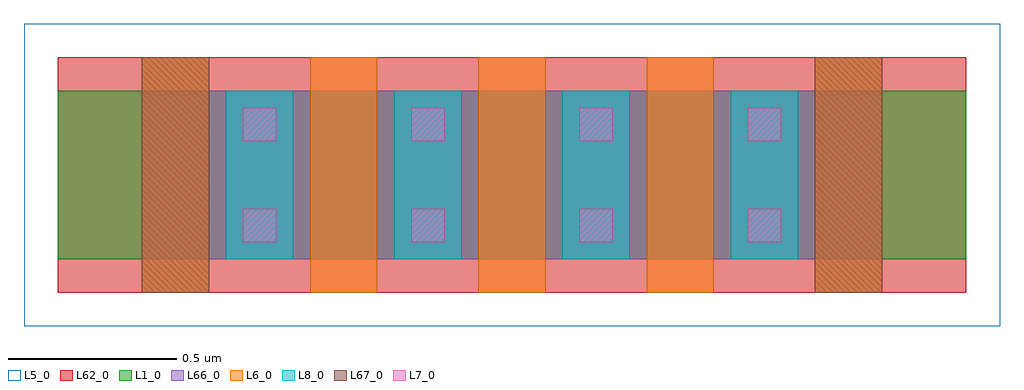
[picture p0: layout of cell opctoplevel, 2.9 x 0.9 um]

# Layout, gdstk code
import gdstk
lib = gdstk.Library(unit=1e-6, precision=1e-09)
def R(c, l, rs):  # rectangles x0, y0, x1, y1
    for r in rs: c.add(gdstk.rectangle(r[:2], r[2:], *l))
def A(c, l, x, y, w, h, nx, ny, dx, dy):  # array of equal rectangles
    R(c, l, [(x+i*dx, y+j*dy, x+i*dx+w, y+j*dy+h) for i in range(nx) for j in range(ny)])
L1_0 = (1, 0)
L5_0 = (5, 0)
L6_0 = (6, 0)
L7_0 = (7, 0)
L8_0 = (8, 0)
L62_0 = (62, 0)
L66_0 = (66, 0)
L67_0 = (67, 0)

opctoplevel = lib.new_cell('opctoplevel')
R(opctoplevel, L1_0, [(-0.75,0,1.95,0.5)])
R(opctoplevel, L5_0, [(-0.85,-0.2,2.05,0.7)])
A(opctoplevel, L6_0, -0.5, -0.1, 0.2, 0.7, 5, 1, 0.5, 0)
A(opctoplevel, L7_0, -0.2, 0.05, 0.1, 0.1, 4, 2, 0.5, 0.3)
A(opctoplevel, L8_0, -0.25, 0, 0.2, 0.5, 4, 1, 0.5, 0)
R(opctoplevel, L62_0, [(-0.75,-0.1,1.95,0.6)])
R(opctoplevel, L66_0, [(-0.5,0,1.7,0.5)])
R(opctoplevel, L67_0, [(-0.5,-0.1,-0.3,0.6), (1.5,-0.1,1.7,0.6)])

lib.write_gds('opctoplevel.gds')
